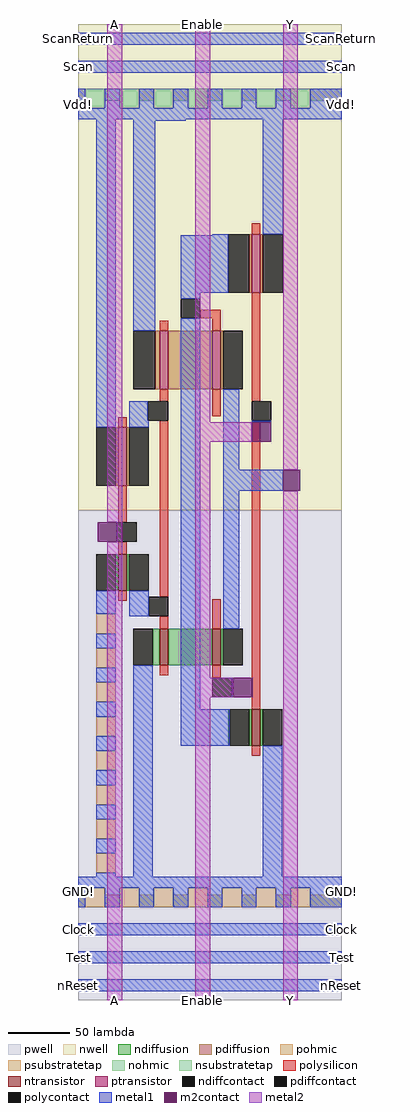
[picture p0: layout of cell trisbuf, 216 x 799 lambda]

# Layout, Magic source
magic
tech c035u
<< nwell >>
rect 0 401 216 799
<< pwell >>
rect 0 0 216 401
<< polysilicon >>
rect 142 627 149 636
rect 100 558 117 565
rect 67 548 74 556
rect 110 548 117 558
rect 67 490 74 500
rect 33 469 40 477
rect 110 478 117 500
rect 142 490 149 579
rect 33 391 40 421
rect 33 365 40 375
rect 33 327 40 335
rect 67 330 74 474
rect 67 304 74 314
rect 110 304 117 328
rect 67 266 74 274
rect 110 264 117 274
rect 142 238 149 474
rect 142 200 149 208
<< ndiffusion >>
rect 31 335 33 365
rect 40 335 42 365
rect 61 274 67 304
rect 74 274 110 304
rect 117 274 119 304
rect 123 208 124 238
rect 140 208 142 238
rect 149 208 151 238
<< pdiffusion >>
rect 140 579 142 627
rect 149 579 151 627
rect 63 500 67 548
rect 74 500 110 548
rect 117 500 119 548
rect 31 421 33 469
rect 40 421 42 469
<< pohmic >>
rect 0 76 6 86
rect 22 76 34 86
rect 50 76 62 86
rect 78 76 90 86
rect 106 76 118 86
rect 134 76 146 86
rect 162 76 174 86
rect 190 76 216 86
<< nohmic >>
rect 0 736 6 746
rect 22 736 34 746
rect 50 736 62 746
rect 78 736 90 746
rect 106 736 118 746
rect 134 736 146 746
rect 162 736 174 746
rect 190 736 216 746
<< ntransistor >>
rect 33 335 40 365
rect 67 274 74 304
rect 110 274 117 304
rect 142 208 149 238
<< ptransistor >>
rect 142 579 149 627
rect 67 500 74 548
rect 110 500 117 548
rect 33 421 40 469
<< polycontact >>
rect 84 558 100 574
rect 57 474 74 490
rect 32 375 48 391
rect 58 314 74 330
rect 142 474 158 490
rect 110 248 126 264
<< ndiffcontact >>
rect 15 335 31 365
rect 42 335 58 365
rect 45 274 61 304
rect 119 274 135 304
rect 124 208 140 238
rect 151 208 167 238
<< pdiffcontact >>
rect 123 579 140 627
rect 151 579 168 627
rect 45 500 63 548
rect 119 500 135 548
rect 15 421 31 469
rect 42 421 58 469
<< psubstratetap >>
rect 15 300 31 316
rect 15 272 31 288
rect 15 244 31 260
rect 15 216 31 232
rect 15 188 31 204
rect 15 160 31 176
rect 15 132 31 148
rect 15 104 31 120
rect 6 76 22 92
rect 34 76 50 92
rect 62 76 78 92
rect 90 76 106 92
rect 118 76 134 92
rect 146 76 162 92
rect 174 76 190 92
<< nsubstratetap >>
rect 6 730 22 746
rect 34 730 50 746
rect 62 730 78 746
rect 90 730 106 746
rect 118 730 134 746
rect 146 730 162 746
rect 174 730 190 746
<< metal1 >>
rect 0 782 216 792
rect 0 759 216 769
rect 0 730 6 746
rect 22 730 34 746
rect 50 730 62 746
rect 78 730 90 746
rect 106 730 118 746
rect 134 730 146 746
rect 162 730 174 746
rect 190 730 216 746
rect 0 721 216 730
rect 15 469 31 721
rect 45 720 88 721
rect 45 548 63 720
rect 151 627 168 721
rect 110 626 123 627
rect 84 579 123 626
rect 84 574 100 579
rect 42 474 57 490
rect 42 469 58 474
rect 15 316 31 335
rect 42 314 58 335
rect 15 288 31 300
rect 15 260 31 272
rect 15 232 31 244
rect 15 204 31 216
rect 15 176 31 188
rect 15 148 31 160
rect 15 120 31 132
rect 15 101 31 104
rect 45 101 61 274
rect 84 238 100 558
rect 119 434 132 500
rect 142 473 158 474
rect 119 417 168 434
rect 119 304 132 417
rect 126 248 127 264
rect 84 208 124 238
rect 151 101 167 208
rect 0 92 216 101
rect 0 76 6 92
rect 22 76 34 92
rect 50 76 62 92
rect 78 76 90 92
rect 106 76 118 92
rect 134 76 146 92
rect 162 76 174 92
rect 190 76 216 92
rect 0 53 216 63
rect 0 30 216 40
rect 0 7 216 17
<< m2contact >>
rect 16 375 32 391
rect 142 457 158 473
rect 168 417 182 434
rect 127 248 143 264
<< metal2 >>
rect 24 391 36 799
rect 32 375 36 391
rect 24 0 36 375
rect 96 473 108 799
rect 96 457 142 473
rect 96 264 108 457
rect 168 434 180 799
rect 96 248 127 264
rect 96 0 108 248
rect 168 0 180 417
<< labels >>
rlabel metal1 0 53 0 63 3 Clock
rlabel metal1 0 30 0 40 3 Test
rlabel metal1 0 7 0 17 2 nReset
rlabel metal1 0 782 0 792 4 ScanReturn
rlabel metal1 0 759 0 769 3 Scan
rlabel metal1 0 721 0 746 3 Vdd!
rlabel metal1 0 76 0 101 3 GND!
rlabel metal2 24 0 36 0 1 A
rlabel metal2 24 799 36 799 5 A
rlabel metal2 96 799 108 799 5 Enable
rlabel metal2 96 0 108 0 1 Enable
rlabel metal2 168 0 180 0 1 Y
rlabel metal2 168 799 180 799 5 Y
rlabel metal1 216 7 216 17 8 nReset
rlabel metal1 216 30 216 40 7 Test
rlabel metal1 216 53 216 63 7 Clock
rlabel metal1 216 782 216 792 6 ScanReturn
rlabel metal1 216 759 216 769 7 Scan
rlabel metal1 216 721 216 746 7 Vdd!
rlabel metal1 216 76 216 101 7 GND!
<< end >>
